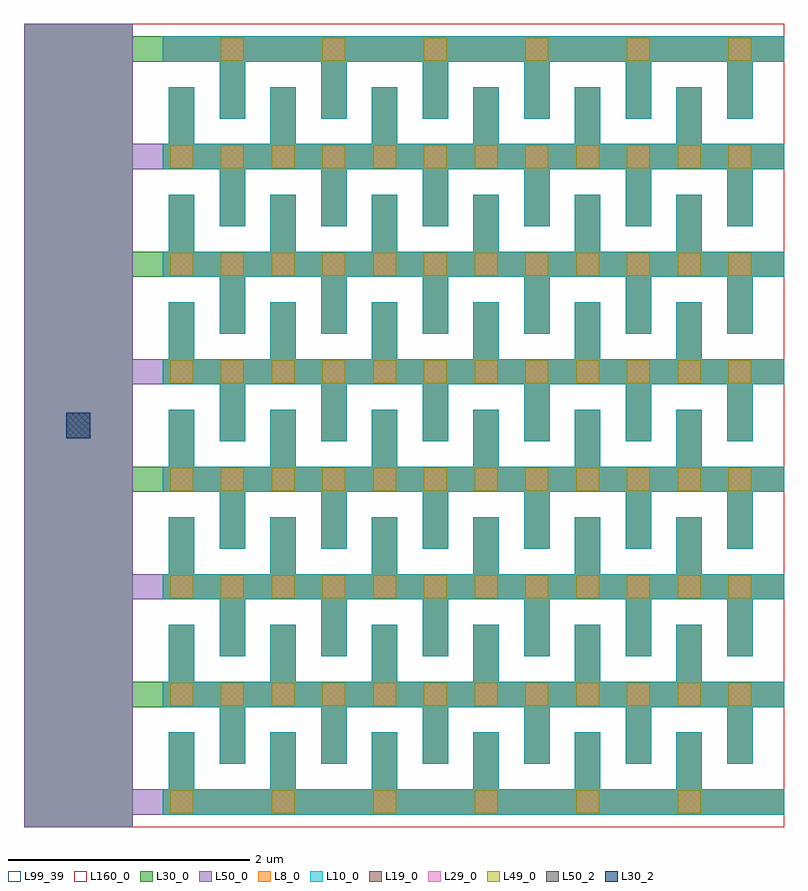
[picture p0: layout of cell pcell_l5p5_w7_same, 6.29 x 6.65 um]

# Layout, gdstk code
import gdstk
lib = gdstk.Library(unit=1e-6, precision=1e-09)
def R(c, l, rs):  # rectangles x0, y0, x1, y1
    for r in rs: c.add(gdstk.rectangle(r[:2], r[2:], *l))
def A(c, l, x, y, w, h, nx, ny, dx, dy):  # array of equal rectangles
    R(c, l, [(x+i*dx, y+j*dy, x+i*dx+w, y+j*dy+h) for i in range(nx) for j in range(ny)])
L8_0 = (8, 0)
L10_0 = (10, 0)
L19_0 = (19, 0)
L29_0 = (29, 0)
L30_0 = (30, 0)
L30_2 = (30, 2)
L49_0 = (49, 0)
L50_0 = (50, 0)
L50_2 = (50, 2)
L99_39 = (99, 39)
L160_0 = (160, 0)

pcell_l5p5_w7_same = lib.new_cell('pcell_l5p5_w7_same')
A(pcell_l5p5_w7_same, L8_0, -0.05, -0.105, 5.14, 0.21, 1, 8, 0, 0.89)
A(pcell_l5p5_w7_same, L8_0, 0, 0, 0.21, 0.575, 6, 7, 0.84, 0.89)
A(pcell_l5p5_w7_same, L8_0, 0.42, 0.315, 0.21, 0.575, 6, 7, 0.84, 0.89)
A(pcell_l5p5_w7_same, L10_0, -0.05, -0.105, 5.14, 0.21, 1, 8, 0, 0.89)
A(pcell_l5p5_w7_same, L10_0, 0, 0, 0.21, 0.575, 6, 7, 0.84, 0.89)
A(pcell_l5p5_w7_same, L10_0, 0.42, 0.315, 0.21, 0.575, 6, 7, 0.84, 0.89)
A(pcell_l5p5_w7_same, L19_0, 0.01, -0.095, 0.19, 0.19, 6, 1, 0.84, 0)
A(pcell_l5p5_w7_same, L19_0, 0.01, 0.795, 0.19, 0.19, 12, 6, 0.42, 0.89)
A(pcell_l5p5_w7_same, L19_0, 0.43, 6.135, 0.19, 0.19, 6, 1, 0.84, 0)
A(pcell_l5p5_w7_same, L29_0, 0.01, -0.095, 0.19, 0.19, 6, 1, 0.84, 0)
A(pcell_l5p5_w7_same, L29_0, 0.01, 0.795, 0.19, 0.19, 12, 6, 0.42, 0.89)
A(pcell_l5p5_w7_same, L29_0, 0.43, 6.135, 0.19, 0.19, 6, 1, 0.84, 0)
A(pcell_l5p5_w7_same, L30_0, -0.05, -0.105, 5.14, 0.21, 1, 4, 0, 1.78)
A(pcell_l5p5_w7_same, L30_0, 0, 0, 0.21, 0.575, 6, 7, 0.84, 0.89)
A(pcell_l5p5_w7_same, L30_0, 0.42, 0.315, 0.21, 0.575, 6, 7, 0.84, 0.89)
A(pcell_l5p5_w7_same, L30_0, -1.2, 0.785, 6.29, 0.21, 1, 4, 0, 1.78)
R(pcell_l5p5_w7_same, L30_0, [(-1.2,-0.21,-0.3,6.44)])
R(pcell_l5p5_w7_same, L30_2, [(-0.85,3.01,-0.65,3.22)])
A(pcell_l5p5_w7_same, L49_0, 0.01, -0.095, 0.19, 0.19, 6, 1, 0.84, 0)
A(pcell_l5p5_w7_same, L49_0, 0.01, 0.795, 0.19, 0.19, 12, 6, 0.42, 0.89)
A(pcell_l5p5_w7_same, L49_0, 0.43, 6.135, 0.19, 0.19, 6, 1, 0.84, 0)
A(pcell_l5p5_w7_same, L50_0, -1.2, -0.105, 6.29, 0.21, 1, 4, 0, 1.78)
A(pcell_l5p5_w7_same, L50_0, 0, 0, 0.21, 0.575, 6, 7, 0.84, 0.89)
A(pcell_l5p5_w7_same, L50_0, 0.42, 0.315, 0.21, 0.575, 6, 7, 0.84, 0.89)
A(pcell_l5p5_w7_same, L50_0, -0.05, 0.785, 5.14, 0.21, 1, 4, 0, 1.78)
R(pcell_l5p5_w7_same, L50_0, [(-1.2,-0.21,-0.3,6.44)])
R(pcell_l5p5_w7_same, L50_2, [(-0.85,3.01,-0.65,3.22)])
R(pcell_l5p5_w7_same, L99_39, [(-1.2,-0.21,5.09,6.44)])
R(pcell_l5p5_w7_same, L160_0, [(-1.2,-0.21,5.09,6.44)])
pcell_l5p5_w7_same.add(gdstk.Label('cap_cmomi C=36.990fF', (-1.2,-0.71), layer=63, texttype=0))

lib.write_gds('pcell_l5p5_w7_same.gds')
